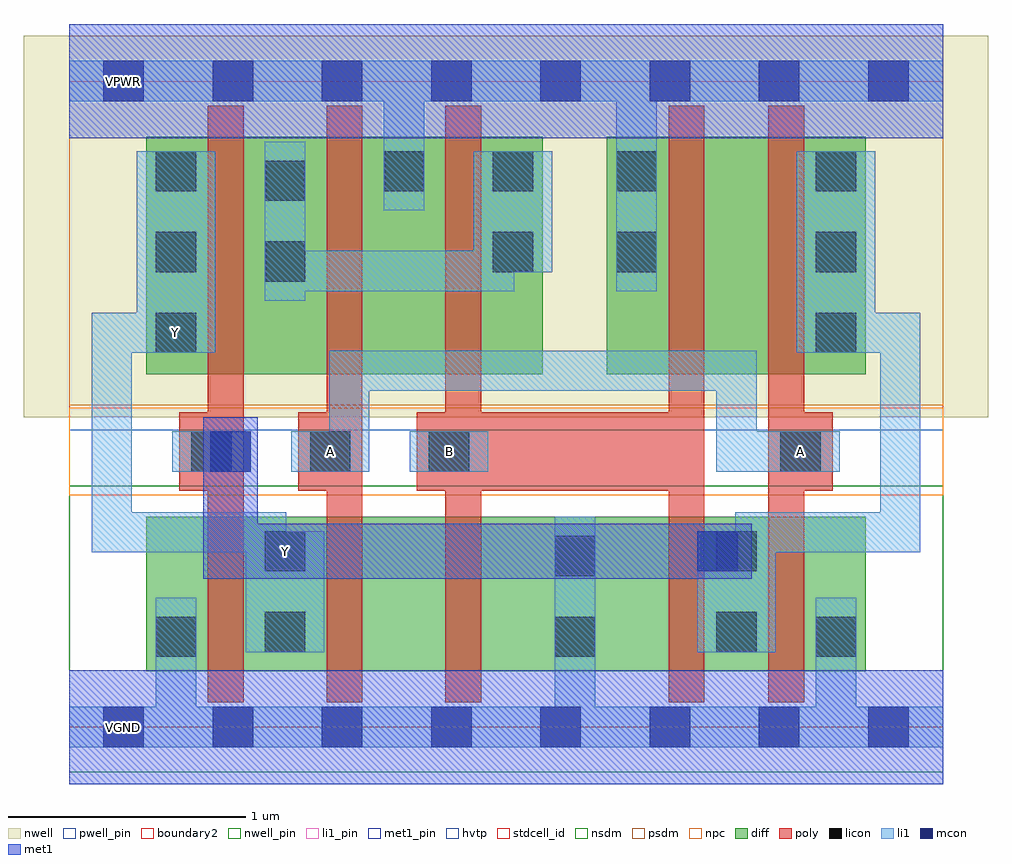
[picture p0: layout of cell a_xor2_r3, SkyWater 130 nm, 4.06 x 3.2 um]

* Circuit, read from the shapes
.subckt a_xor2_r3 A B VGND VNB VPB VPWR Y
XM1 Y n1 VGND VNB sky130_fd_pr__nfet_01v8 w=0.65 l=0.15
XM2 n2 A Y VNB sky130_fd_pr__nfet_01v8 w=0.65 l=0.15
XM3 VGND B n2 VNB sky130_fd_pr__nfet_01v8 w=0.65 l=0.15
XM4 n1 B VGND VNB sky130_fd_pr__nfet_01v8 w=0.65 l=0.15
XM5 VGND A n1 VNB sky130_fd_pr__nfet_01v8 w=0.65 l=0.15
XM6 n3 n1 Y VPB sky130_fd_pr__pfet_01v8_hvt w=1 l=0.15
XM7 VPWR A n3 VPB sky130_fd_pr__pfet_01v8_hvt w=1 l=0.15
XM8 n3 B VPWR VPB sky130_fd_pr__pfet_01v8_hvt w=1 l=0.15
XM9 n4 B VPWR VPB sky130_fd_pr__pfet_01v8_hvt w=1 l=0.15
XM10 n1 A n4 VPB sky130_fd_pr__pfet_01v8_hvt w=1 l=0.15
.ends

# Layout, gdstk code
import gdstk
lib = gdstk.Library(unit=1e-6, precision=1e-09)
def R(c, l, rs):  # rectangles x0, y0, x1, y1
    for r in rs: c.add(gdstk.rectangle(r[:2], r[2:], *l))
def A(c, l, x, y, w, h, nx, ny, dx, dy):  # array of equal rectangles
    R(c, l, [(x+i*dx, y+j*dy, x+i*dx+w, y+j*dy+h) for i in range(nx) for j in range(ny)])
nwell_pin = (64, 16)
nwell = (64, 20)
diff = (65, 20)
poly = (66, 20)
licon = (66, 44)
li1_pin = (67, 16)
li1 = (67, 20)
mcon = (67, 44)
met1_pin = (68, 16)
met1 = (68, 20)
hvtp = (78, 44)
stdcell_id = (81, 4)
nsdm = (93, 44)
psdm = (94, 20)
npc = (95, 20)
pwell_pin = (122, 16)
boundary2 = (236, 0)

a_xor2_r3 = lib.new_cell('a_xor2_r3')
R(a_xor2_r3, nwell_pin, [(0.145,2.635,0.315,2.805)])
R(a_xor2_r3, nwell, [(-0.19,1.305,3.87,2.91)])
R(a_xor2_r3, diff, [(0.325,0.235,0.91,0.885), (0.91,0.235,1.41,0.885), (1.41,0.235,2.13,0.885), (2.13,0.235,2.81,0.885), (2.81,0.235,3.355,0.885), (0.325,1.485,0.91,2.485), (0.91,1.485,1.41,2.485), (1.41,1.485,1.995,2.485), (2.265,1.485,2.81,2.485), (2.81,1.485,3.355,2.485)])
A(a_xor2_r3, poly, 0.585, 0.105, 0.15, 2.51, 3, 1, 0.5, 0)
A(a_xor2_r3, poly, 0.465, 0.995, 0.27, 0.33, 3, 1, 0.5, 0)
R(a_xor2_r3, poly, [(2.525,0.105,2.675,2.615), (2.945,0.105,3.095,2.615), (1.585,0.995,2.675,1.325), (2.945,0.995,3.215,1.325)])
A(a_xor2_r3, licon, 0.515, 1.075, 0.17, 0.17, 3, 1, 0.5, 0)
A(a_xor2_r3, licon, 0.365, 1.575, 0.17, 0.17, 1, 3, 0, 0.34)
A(a_xor2_r3, licon, 3.145, 1.575, 0.17, 0.17, 1, 3, 0, 0.34)
R(a_xor2_r3, licon, [(0.365,0.295,0.535,0.465), (2.045,0.295,2.215,0.465), (3.145,0.295,3.315,0.465), (0.825,0.315,0.995,0.485), (2.725,0.315,2.895,0.485), (2.045,0.635,2.215,0.805), (0.825,0.655,0.995,0.825), (2.725,0.655,2.895,0.825), (2.995,1.075,3.165,1.245), (0.825,1.875,0.995,2.045), (1.785,1.915,1.955,2.085), (2.305,1.915,2.475,2.085), (0.825,2.215,0.995,2.385), (1.325,2.255,1.495,2.425), (1.785,2.255,1.955,2.425), (2.305,2.255,2.475,2.425)])
R(a_xor2_r3, li1_pin, [(0.825,0.655,0.995,0.825), (1.015,1.075,1.185,1.245), (1.515,1.075,1.685,1.245), (2.995,1.075,3.165,1.245), (0.365,1.575,0.535,1.745)])
A(a_xor2_r3, li1, 0.435, 1.075, 0.33, 0.17, 3, 1, 0.5, 0)
R(a_xor2_r3, li1, [(0,-0.085,3.68,0.085), (0.365,-0.085,0.535,0.545), (2.045,-0.085,2.215,0.545), (3.145,-0.085,3.315,0.545), (2.045,0.295,2.215,0.885), (0.745,0.315,1.075,0.825), (2.645,0.315,2.975,0.825), (0.745,0.655,1.075,0.825), (0.745,0.655,0.915,0.905), (2.645,0.655,2.975,0.825), (2.805,0.655,2.975,0.905), (0.095,0.735,0.915,0.905), (0.095,0.735,0.265,1.745), (2.805,0.735,3.585,0.905), (3.415,0.735,3.585,1.745), (1.095,1.075,1.265,1.585), (2.725,1.075,2.895,1.585), (2.725,1.075,3.085,1.245), (2.895,1.075,2.915,1.245), (2.895,1.075,2.915,1.245), (2.895,1.075,2.915,1.245), (2.895,1.075,2.915,1.245), (2.915,1.075,3.245,1.245), (1.095,1.415,2.895,1.585), (0.095,1.575,0.455,1.745), (0.265,1.575,0.285,1.745), (0.265,1.575,0.285,1.745), (0.265,1.575,0.285,1.745), (0.265,1.575,0.285,1.745), (0.265,1.575,0.285,1.745), (0.265,1.575,0.285,1.745), (0.265,1.575,0.285,1.745), (0.265,1.575,0.285,1.745), (0.285,1.575,0.615,1.745), (0.285,1.575,0.615,2.085), (3.065,1.575,3.395,1.745), (3.065,1.575,3.395,2.085), (3.225,1.575,3.585,1.745), (3.395,1.575,3.415,1.745), (3.395,1.575,3.415,1.745), (3.395,1.575,3.415,1.745), (3.395,1.575,3.415,1.745), (3.395,1.575,3.415,1.745), (3.395,1.575,3.415,1.745), (3.395,1.575,3.415,1.745), (3.395,1.575,3.415,1.745), (0.825,1.795,0.995,2.385), (0.825,1.835,0.995,2.305), (0.825,1.835,1.875,2.005), (1.705,1.835,1.875,2.425), (2.305,1.835,2.475,2.425), (0.285,1.915,0.615,2.425), (1.705,1.915,2.035,2.425), (3.065,1.915,3.395,2.425), (0.825,2.005,0.995,2.135), (0.825,2.005,0.995,2.135), (0.825,2.005,0.995,2.135), (0.825,2.005,0.995,2.135), (0.825,2.135,0.995,2.465), (1.325,2.175,1.495,2.805), (2.305,2.175,2.475,2.805), (1.705,2.255,2.035,2.425), (0,2.635,3.68,2.805)])
A(a_xor2_r3, mcon, 0.145, -0.085, 0.17, 0.17, 8, 2, 0.46, 2.72)
R(a_xor2_r3, mcon, [(2.645,0.655,2.815,0.825), (0.595,1.075,0.765,1.245)])
R(a_xor2_r3, met1_pin, [(0.145,-0.085,0.315,0.085), (0.145,2.635,0.315,2.805)])
R(a_xor2_r3, met1, [(0,-0.24,3.68,0.24), (0.565,0.625,0.795,1.275), (0.565,0.625,2.845,0.855), (2.585,0.625,2.875,0.855), (0.565,1.015,0.795,1.305), (0,2.48,3.68,2.96)])
R(a_xor2_r3, hvtp, [(0,1.25,3.68,2.72)])
R(a_xor2_r3, stdcell_id, [(0,0,3.68,2.72)])
R(a_xor2_r3, nsdm, [(0,-0.19,3.68,1.015)])
R(a_xor2_r3, psdm, [(0,1.355,3.68,2.91)])
R(a_xor2_r3, npc, [(0,0.975,3.68,1.345)])
R(a_xor2_r3, pwell_pin, [(0.145,-0.085,0.315,0.085)])
R(a_xor2_r3, boundary2, [(0,0,3.68,2.72)])
a_xor2_r3.add(gdstk.Label('A', (1.1,1.16), layer=67, texttype=5))
a_xor2_r3.add(gdstk.Label('A', (3.08,1.16), layer=67, texttype=5))
a_xor2_r3.add(gdstk.Label('B', (1.6,1.16), layer=67, texttype=5))
a_xor2_r3.add(gdstk.Label('Y', (0.91,0.74), layer=67, texttype=5))
a_xor2_r3.add(gdstk.Label('Y', (0.45,1.66), layer=67, texttype=5))
a_xor2_r3.add(gdstk.Label('VGND', (0.23,0), layer=68, texttype=5))
a_xor2_r3.add(gdstk.Label('VPWR', (0.23,2.72), layer=68, texttype=5))
a_xor2_r3.add(gdstk.Label('VPB', (0.23,2.72), layer=64, texttype=5))
a_xor2_r3.add(gdstk.Label('VNB', (0.23,0), layer=64, texttype=59))

lib.write_gds('a_xor2_r3.gds')
